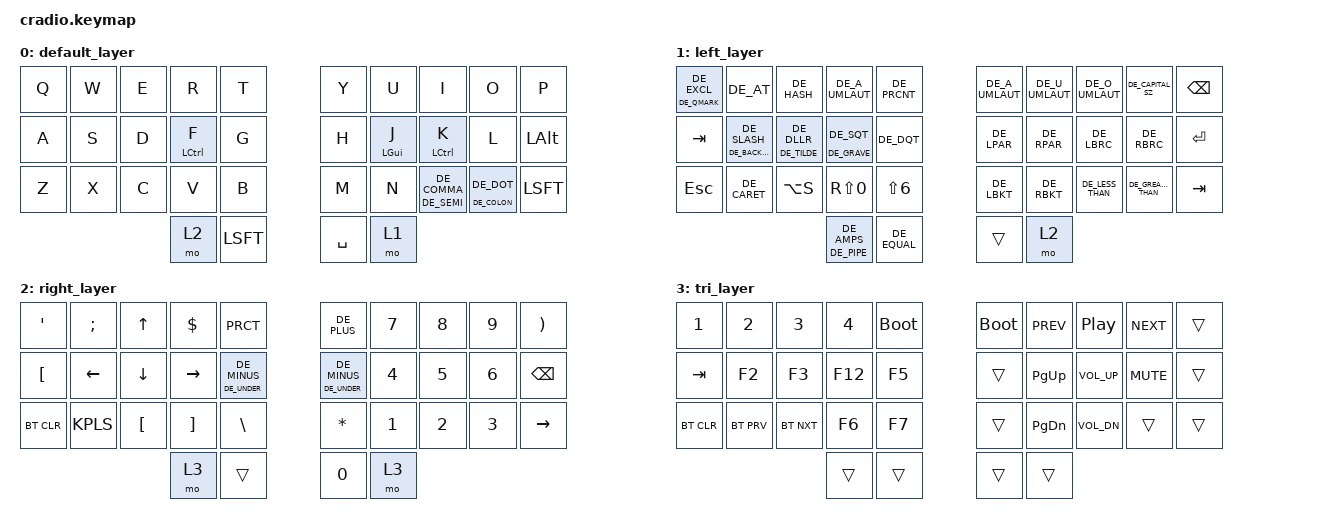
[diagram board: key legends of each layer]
/*
 * Copyright (c) 2020 The ZMK Contributors
 *
 * SPDX-License-Identifier: MIT
 * Author of the layout is: Julian Hummel
 */

#include <behaviors.dtsi>
#include <dt-bindings/zmk/keys.h>
#include <dt-bindings/zmk/bt.h>
#include <locale/keys_de.h>

&mt {
  flavor = "tap-preferred";
  tapping_term_ms = <200>;
};

/ { 

    combos {
        compatible = "zmk,combos";
	/*
                           KEY POSITIONS
          ╭────────────────────╮ ╭────────────────────╮
          │  0   1   2   3   4 │ │  5   6   7   8   9 │
          │ 10  11  12  13  14 │ │ 15  16  17  18  19 │
          │ 20  21  22  23  24 │ │ 25  26  27  28  29 │
          ╰───────────╮ 30  31 │ │ 32  33 ╭───────────╯
                      ╰────────╯ ╰────────╯
        */
	
        combo_esc {
            timeout-ms = <50>;
            key-positions = <0 1>;
            bindings = <&kp ESC>;
        };
	
	combo_ctrlaltright {
            timeout-ms = <50>;
            key-positions = <16 17>;
            bindings = <&kp LC(LSHIFT)>;
        };
	
	switch_screens {
            timeout-ms = <50>;
            key-positions = <6 7>;
            bindings = <&kp LG(LS(LEFT))>;
        };
      
      	/* Activates the selection with the mouse for an area to screenshot. 
	The screenshot is copied to the clipboard. */
	screenshot_copy_to_clipboard {
            timeout-ms = <50>;
            key-positions = <12 13>;
            bindings = <&kp LG(LS(S))>;
        };
	
	/* Activates the selection with the mouse for an area to screenshot. 
	The screenshot is saved to the specified location. */
	screenshot_with_save {
            timeout-ms = <50>;
            key-positions = <22 23>;
            bindings = <&kp LG(LS(NUM_4))>;
        };
	
         combo_tab {
            timeout-ms = <50>;
            key-positions = <10 11>;
            bindings = <&kp TAB>;
        };
        
        
        
                    combo_lalt {
            timeout-ms = <50>;
            key-positions = <11 12>;
            bindings = <&kp LALT>;
        };
        
           combo_rgui {
            timeout-ms = <50>;
            key-positions = <17 18>;
            bindings = <&kp RGUI>;
        };
	
	to_last_layer {
            timeout-ms = <50>;
            key-positions = <17 18>;
            bindings = <&mo 3>;
        };
        

        
    };
    
    macros {
        german_oe: german_oe {
            label = "german_oe";
            compatible = "zmk,behavior-macro";
            #binding-cells = <0>;
            bindings = <&macro_tap_time 0>
	    	      ,<&macro_tap &kp DQT &kp O>;
        };
	german_ae: german_ae {
            label = "german_ae";
            compatible = "zmk,behavior-macro";
            #binding-cells = <0>;
            bindings = <&macro_tap_time 0>
	    	      ,<&macro_tap &kp DQT &kp A>;
        };
	german_ue: german_ue {
            label = "german_ue";
            compatible = "zmk,behavior-macro";
            #binding-cells = <0>;
            bindings = <&macro_tap_time 0>
	    	      ,<&macro_tap &kp DQT &kp U>;
        }; 
	german_ue_b: german_ue_b {
            label = "german_ue_b";
            compatible = "zmk,behavior-macro";
            #binding-cells = <0>;
            bindings = <&macro_tap_time 0>
	    	      ,<&macro_tap &kp DQT &kp LS(U)>;
        }; 
	german_oe_b: german_oe_b {
            label = "german_oe_b";
            compatible = "zmk,behavior-macro";
            #binding-cells = <0>;
            bindings = <&macro_tap_time 0>
	    	      ,<&macro_tap &kp DQT &kp LS(O)>;
        }; 
	german_ae_b: german_ae_b {
            label = "german_ae_b";
            compatible = "zmk,behavior-macro";
            #binding-cells = <0>;
            bindings = <&macro_tap_time 0>
	    	      ,<&macro_tap &kp DQT &kp LS(A)>;
        }; 
    };
    
    behaviors {
    	tap_ue: tap_dance_0 {
            compatible = "zmk,behavior-tap-dance";
            label = "TAP_DANCE_0";
            #binding-cells = <0>;
            tapping-term-ms = <250>;
            bindings = <&german_ue>, <&german_ue_b>;
        };
	tap_oe: tap_dance_1 {
            compatible = "zmk,behavior-tap-dance";
            label = "TAP_DANCE_1";
            #binding-cells = <0>;
            tapping-term-ms = <250>;
            bindings = <&german_oe>, <&german_oe_b>;
        };
	tap_ae: tap_dance_2 {
            compatible = "zmk,behavior-tap-dance";
            label = "TAP_DANCE_2";
            #binding-cells = <0>;
            tapping-term-ms = <250>;
            bindings = <&german_ae>, <&german_ae_b>;
        };
    };

        keymap {
                compatible = "zmk,keymap";
                
       		default_layer {
		bindings = <
		&kp Q &kp W &kp E &kp R &kp T 						&kp Y &kp U  &kp I &kp O &kp P
		&kp A &kp S &kp D &mt LCTRL F &kp G 			      			&kp H &mt LGUI J &mt LCTRL K &kp L &kp LALT
		&kp Z &kp X &kp C &kp V &kp B				        &kp M &kp N  &mt DE_SEMI DE_COMMA &mt DE_COLON DE_DOT &kp LSFT 
          				 &mo 2 &kp LSFT  		        	&kp SPC &mo 1 
		>;
		};

       		left_layer {
		bindings = <
		&mt DE_QMARK DE_EXCL &kp DE_AT &kp DE_HASH &kp DE_A_UMLAUT &kp DE_PRCNT				&kp DE_A_UMLAUT &kp DE_U_UMLAUT &kp DE_O_UMLAUT &kp DE_CAPITAL_SZ &kp BKSP 
		&kp TAB &mt DE_BACKSLASH DE_SLASH &mt DE_TILDE DE_DLLR &mt DE_GRAVE DE_SQT &kp DE_DQT 			&kp DE_LPAR &kp DE_RPAR &kp DE_LBRC &kp DE_RBRC &kp ENTER 
		&kp ESC &kp DE_CARET &kp LA(S) &kp RS(NUM_0) &kp LS(NUM_6) 		&kp DE_LBKT &kp DE_RBKT &kp DE_LESS_THAN &kp DE_GREATER_THAN &kp TAB 
					    &mt DE_PIPE DE_AMPS &kp DE_EQUAL				&trans &mo 2 
		>;
		};
		
		right_layer {
		bindings = <
		&kp APOS &kp SEMI &kp UP  &kp DLLR  &kp PRCT    			&kp DE_PLUS  &kp NUM_7 &kp NUM_8 &kp NUM_9 &kp RPRN 
		&kp LBKT  &kp LEFT  &kp DOWN  &kp RIGHT  &mt DE_UNDER DE_MINUS		&mt DE_UNDER DE_MINUS &kp NUM_4  &kp NUM_5  &kp NUM_6   &kp BKSP
		&bt BT_CLR  &kp KPLS &kp LBKT &kp RBKT   &kp BSLH    			&kp STAR &kp NUM_1 &kp NUM_2 &kp NUM_3  &kp RIGHT
					  &mo 3 &trans  				&kp NUM_0  &mo 3 
		>;
		};	
		
		tri_layer {
		bindings = <
		&kp NUM_1  &kp NUM_2 &kp NUM_3 &kp NUM_4 &bootloader 			&bootloader &kp C_PREV   &kp C_PP   &kp C_NEXT  &trans
		&kp TAB &kp F2 &kp F3 &kp F12 &kp F5  				&trans &kp PG_UP  &kp C_VOL_UP &kp C_MUTE &trans 
		&bt BT_CLR  &bt BT_PRV &bt BT_NXT &kp F6 &kp F7   			&trans &kp PG_DN  &kp C_VOL_DN &trans &trans   
					 &trans &trans  				&trans &trans 
		>;
		};	
        
	};
};
